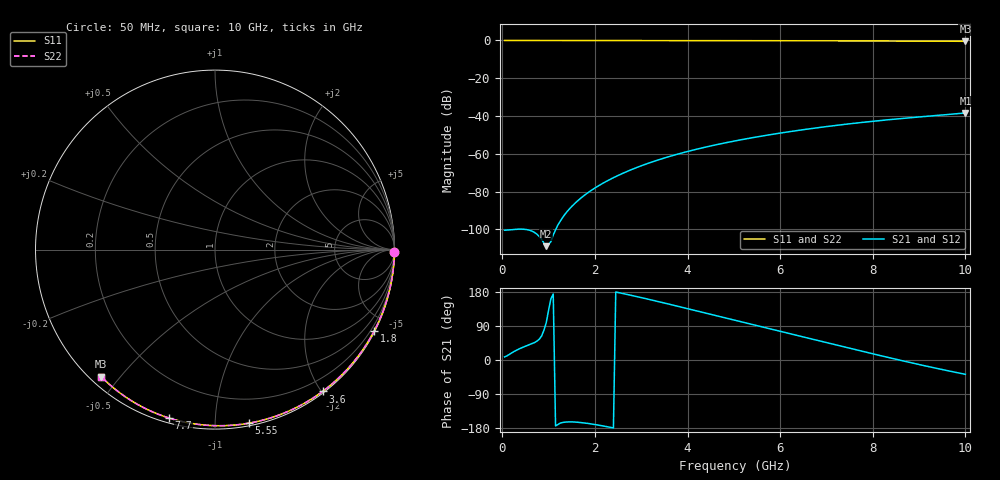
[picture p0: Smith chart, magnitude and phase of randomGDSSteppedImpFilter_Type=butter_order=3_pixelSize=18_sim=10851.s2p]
! freq	dB(S11)	phase(S11)	dB(S12)	phase(S12)
!  dB(S21)	phase(S21)	dB(S22)	phase(S22)
!S-par simulation data
#  GHz  S  DB  R 50
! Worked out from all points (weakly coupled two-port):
!   200 points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, 50 MHz to 10 GHz, reference 50 ohm
!   highest |S21| = -38.38 dB at 10 GHz (marker M1); lowest = -108.9 dB at 950 MHz (marker M2)
!   lowest |S11| = -0.4 dB at 10 GHz (marker M3), VSWR 39.28, Z = 1.53 - j22.3 ohm
!   |S11| at or under -10 dB: nowhere
!   |S22| runs from -0.4 to 0.0 dB; largest |S21 - S12| = 0
!   S11 on the Smith chart (normalised r, x): 50 MHz: open; 1.8 GHz: 0.04, -4.16; 3.6 GHz: 0.02, -2.01; 5.55 GHz: 0.02, -1.21; 7.7 GHz: 0.02, -0.76; 10 GHz: 0.03, -0.45
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0.05  -0.00 -0.8  -100.42 8.1  -100.42 8.1  -0.00 -0.8
0.5  -0.01 -7.6  -99.98 36.3  -99.98 36.3  -0.01 -7.6
0.95  -0.02 -14.4  -108.86 98.7  -108.86 98.7  -0.02 -14.4
1.75  -0.03 -26.3  -82.37 -165.8  -82.37 -165.8  -0.03 -26.3
1.8  -0.03 -27.0  -81.43 -166.6  -81.43 -166.6  -0.03 -27.0
1.85  -0.04 -27.8  -80.55 -167.4  -80.55 -167.4  -0.04 -27.8
1.9  -0.04 -28.5  -79.69 -168.3  -79.69 -168.3  -0.04 -28.5
2.05  -0.04 -30.7  -77.32 -171.3  -77.32 -171.3  -0.04 -30.7
2.25  -0.04 -33.6  -74.51 -175.7  -74.51 -175.7  -0.04 -33.6
2.65  -0.05 -39.4  -69.78 174.3  -69.78 174.3  -0.05 -39.4
3  -0.06 -44.4  -66.33 164.7  -66.33 164.7  -0.06 -44.4
3.4  -0.07 -50.0  -62.96 153.3  -62.96 153.3  -0.07 -50.1
3.6  -0.07 -52.8  -61.46 147.4  -61.46 147.4  -0.07 -52.8
4.3  -0.09 -62.4  -56.94 126.5  -56.94 126.5  -0.09 -62.4
5.05  -0.11 -72.4  -53.04 104.1  -53.04 104.1  -0.11 -72.4
5.55  -0.13 -78.9  -50.82 89.1  -50.82 89.1  -0.13 -78.9
6.1  -0.15 -85.9  -48.65 72.8  -48.65 72.8  -0.15 -85.9
6.7  -0.18 -93.3  -46.54 54.9  -46.54 54.9  -0.18 -93.4
7.7  -0.24 -105.4  -43.56 25.2  -43.56 25.2  -0.24 -105.4
8.35  -0.29 -113.0  -41.93 6.2  -41.93 6.2  -0.29 -113.0
9.15  -0.36 -122.2  -40.17 -16.0  -40.17 -16.0  -0.36 -122.2
10  -0.44 -131.8  -38.38 -37.8  -38.38 -37.8  -0.44 -131.9
